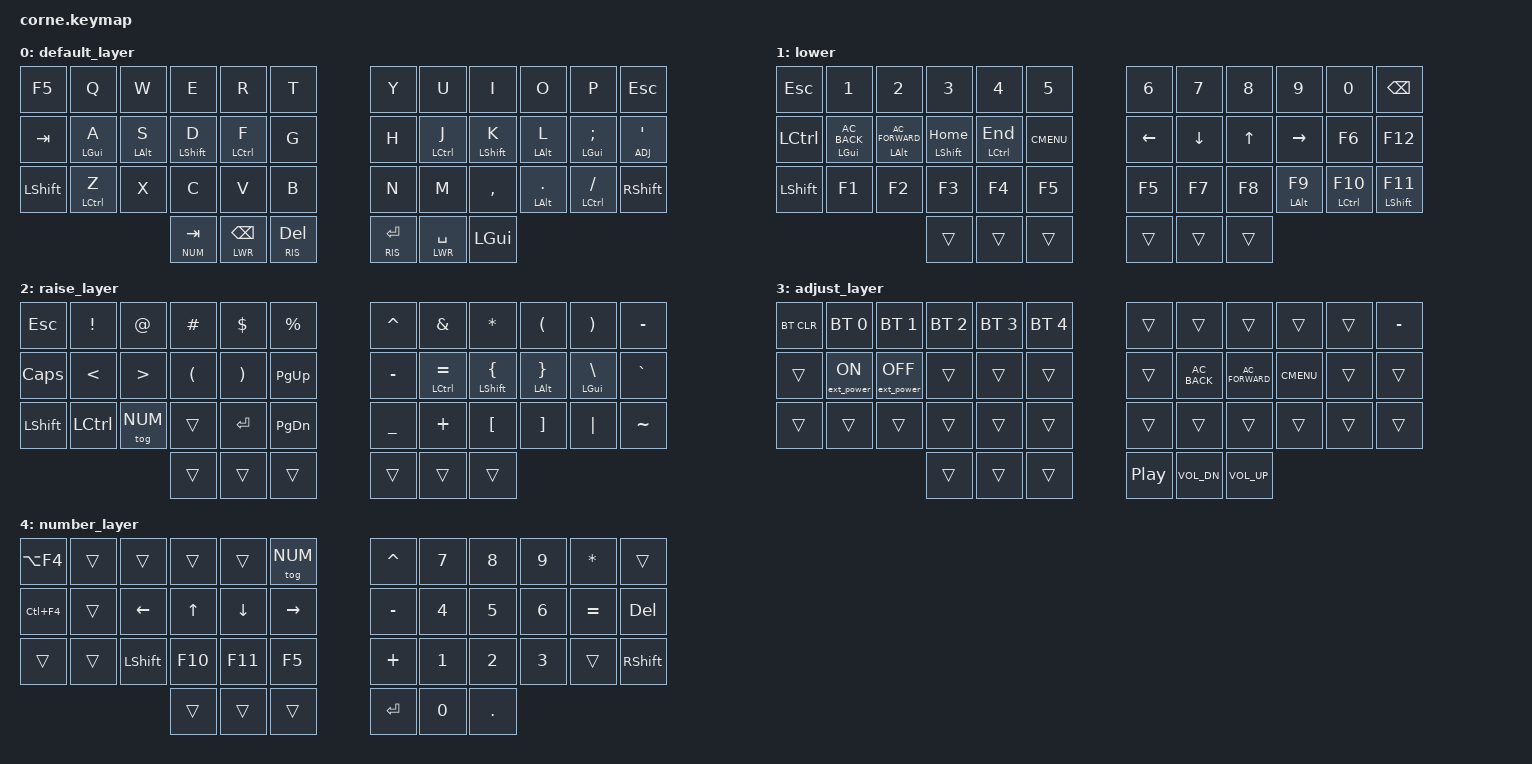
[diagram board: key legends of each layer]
/*
 * Copyright (c) 2020 The ZMK Contributors
 *
 * SPDX-License-Identifier: MIT
 */

#include <behaviors.dtsi>
#include <dt-bindings/zmk/keys.h>
#include <dt-bindings/zmk/bt.h>
#include <dt-bindings/zmk/ext_power.h>

#define DEF 0
#define LWR 1
#define RIS 2
#define ADJ 3
#define NUM 4

/ {

  behaviors {
    hm: homerow_mods {
      compatible = "zmk,behavior-hold-tap";
      label = "HOMEROW_MODS";
      #binding-cells = <2>;
      tapping-term-ms = <150>;
      quick_tap_ms = <0>;
      flavor = "tap-preferred";
      bindings = <&kp>, <&kp>;
    };
  };

  keymap {
    compatible = "zmk,keymap";
    default_layer {
      bindings = <

        &kp F5          &kp Q           &kp W           &kp E           &kp R           &kp T                   &kp Y           &kp U           &kp I           &kp O           &kp P           &kp ESC       
        &kp TAB         &hm LGUI A      &hm LALT S      &hm LSHIFT D    &hm LCTRL F     &kp G                   &kp H           &hm LCTRL J     &hm LSHIFT K    &hm LALT L      &hm LGUI SEMI   &lt ADJ SQT     
        &kp LSHFT       &hm LCTRL Z     &kp X           &kp C           &kp V           &kp B                   &kp N           &kp M           &kp COMMA       &hm LALT DOT    &hm LCTRL FSLH  &kp RSHFT       
                                                        &lt NUM TAB     &lt LWR BSPC    &lt RIS DEL             &lt RIS RET     &lt LWR SPACE   &kp LGUI
        
      >;
    };
    lower {
      bindings = <

        &kp ESC         &kp N1          &kp N2          &kp N3          &kp N4          &kp N5                  &kp N6          &kp N7          &kp N8          &kp N9          &kp N0          &kp BSPC        
        &kp LCTRL  &hm LGUI C_AC_BACK &hm LALT C_AC_FORWARD &hm LSHIFT HOME &hm LCTRL END &kp K_CMENU           &kp LEFT        &kp DOWN        &kp UP          &kp RIGHT       &kp F6          &kp F12         
        &kp LSHFT       &kp F1          &kp F2          &kp F3          &kp F4          &kp F5                  &kp F5          &kp F7          &kp F8          &hm LALT F9     &hm LCTRL F10   &hm LSHFT F11   
                                                        &trans          &trans          &trans                  &trans          &trans          &trans  
      >;
    };
    raise_layer {
      bindings = <

        &kp ESC         &kp EXCL        &kp AT          &kp HASH        &kp DLLR        &kp PRCNT               &kp CARET       &kp AMPS        &kp STAR        &kp LPAR        &kp RPAR        &kp MINUS       
        &kp CAPS        &kp LT          &kp GT          &kp LPAR        &kp RPAR        &kp PG_UP               &kp MINUS       &hm LCTRL EQUAL &hm LSHIFT LBRC &hm LALT RBRC   &hm LGUI BSLH   &kp GRAVE       
        &kp LSHFT       &kp LCTRL       &tog NUM        &trans          &kp RET         &kp PG_DN               &kp UNDER       &kp PLUS        &kp LBKT        &kp RBKT        &kp PIPE        &kp TILDE       
                                                        &trans          &trans          &trans                  &trans          &trans          &trans          
      >;
    };
    adjust_layer {
      bindings = <

        &bt BT_CLR      &bt BT_SEL 0    &bt BT_SEL 1    &bt BT_SEL 2    &bt BT_SEL 3    &bt BT_SEL 4            &trans          &trans          &trans          &trans          &trans          &kp MINUS       
        &trans       &ext_power EP_ON &ext_power EP_OFF &trans          &trans          &trans                  &trans          &kp C_AC_BACK   &kp C_AC_FORWARD &kp K_CMENU    &trans          &trans          
        &trans          &trans          &trans          &trans          &trans          &trans                  &trans          &trans          &trans          &trans          &trans          &trans          
                                                        &trans          &trans          &trans                  &kp C_PLAY_PAUSE   &kp C_VOL_DN    &kp C_VOL_UP
      >;
    };
    number_layer {
      bindings = <

        &kp LA(F4)      &trans          &trans          &trans          &trans          &tog NUM                &kp CARET       &kp N7          &kp N8          &kp N9          &kp STAR        &trans          
        &kp LC(F4)      &trans          &kp LEFT        &kp UP          &kp DOWN        &kp RIGHT               &kp MINUS       &kp N4          &kp N5          &kp N6          &kp EQUAL       &kp DEL         
        &trans          &trans          &kp LSHFT       &kp F10         &kp F11         &kp F5                  &kp PLUS        &kp N1          &kp N2          &kp N3          &trans          &kp RSHFT       
                                                        &trans          &trans          &trans                  &kp RET         &kp N0          &kp DOT         
      >;
    };
  };

};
